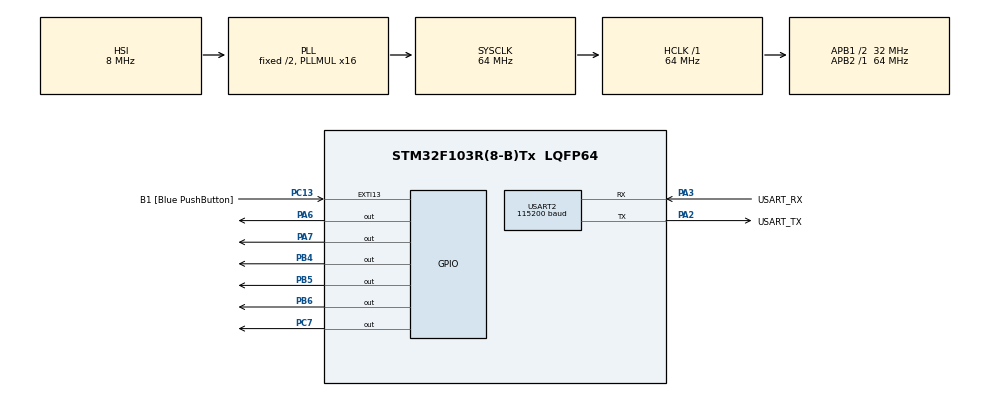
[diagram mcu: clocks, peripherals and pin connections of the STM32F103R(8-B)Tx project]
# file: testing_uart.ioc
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Dma.Request0=USART2_RX
Dma.USART2_RX.0.Direction=DMA_PERIPH_TO_MEMORY
Dma.USART2_RX.0.Instance=DMA1_Channel6
Dma.USART2_RX.0.MemDataAlignment=DMA_MDATAALIGN_BYTE
Dma.USART2_RX.0.MemInc=DMA_MINC_ENABLE
Dma.USART2_RX.0.Mode=DMA_NORMAL
Dma.USART2_RX.0.PeriphDataAlignment=DMA_PDATAALIGN_BYTE
Dma.USART2_RX.0.PeriphInc=DMA_PINC_DISABLE
Dma.USART2_RX.0.Priority=DMA_PRIORITY_LOW
Mcu.Family=STM32F1
Mcu.Name=STM32F103R(8-B)Tx
Mcu.Package=LQFP64
NVIC.DMA1_Channel6_IRQn=true\:0\:0\:false\:false\:true\:false\:true\:true
NVIC.EXTI15_10_IRQn=true\:0\:0\:false\:false\:true\:true\:true\:true
NVIC.PriorityGroup=NVIC_PRIORITYGROUP_4
NVIC.USART2_IRQn=true\:0\:0\:false\:false\:true\:true\:true\:true
PA13.Mode=Serial_Wire
PA13.Signal=SYS_JTMS-SWDIO
PA14.Mode=Serial_Wire
PA14.Signal=SYS_JTCK-SWCLK
PA2.GPIO_Label=USART_TX
PA2.GPIO_Mode=GPIO_MODE_AF_PP
PA2.GPIO_PuPd=GPIO_NOPULL
PA2.GPIO_Speed=GPIO_SPEED_FREQ_LOW
PA2.Mode=Asynchronous
PA2.Signal=USART2_TX
PA3.GPIO_Label=USART_RX
PA3.GPIO_Mode=GPIO_MODE_AF_PP
PA3.GPIO_PuPd=GPIO_NOPULL
PA3.GPIO_Speed=GPIO_SPEED_FREQ_LOW
PA3.Mode=Asynchronous
PA3.Signal=USART2_RX
PA6.Signal=GPIO_Output
PA7.Signal=GPIO_Output
PB4.Signal=GPIO_Output
PB5.Signal=GPIO_Output
PB6.Signal=GPIO_Output
PC13-TAMPER-RTC.GPIO_Label=B1 [Blue PushButton]
PC13-TAMPER-RTC.GPIO_PuPd=GPIO_NOPULL
PC13-TAMPER-RTC.Signal=GPXTI13
PC14-OSC32_IN.Mode=LSE-External-Oscillator
PC14-OSC32_IN.Signal=RCC_OSC32_IN
PC15-OSC32_OUT.Mode=LSE-External-Oscillator
PC15-OSC32_OUT.Signal=RCC_OSC32_OUT
PC7.Signal=GPIO_Output
PD0-OSC_IN.Mode=HSE-External-Clock-Source
PD0-OSC_IN.Signal=RCC_OSC_IN
PD1-OSC_OUT.Mode=HSE-External-Clock-Source
PD1-OSC_OUT.Signal=RCC_OSC_OUT
ProjectManager.HeapSize=0x200
ProjectManager.StackSize=0x400
ProjectManager.TargetToolchain=STM32CubeIDE
RCC.AHBFreq_Value=64000000
RCC.APB1CLKDivider=RCC_HCLK_DIV2
RCC.APB1Freq_Value=32000000
RCC.APB1TimFreq_Value=64000000
RCC.APB2Freq_Value=64000000
RCC.APB2TimFreq_Value=64000000
RCC.HCLKFreq_Value=64000000
RCC.PLLMUL=RCC_PLL_MUL16
RCC.RTCClockSelection=RCC_RTCCLKSOURCE_LSE
RCC.SYSCLKFreq_VALUE=64000000
RCC.SYSCLKSource=RCC_SYSCLKSOURCE_PLLCLK
RCC.USBFreq_Value=64000000
USART2.BaudRate=115200
USART2.VirtualMode=VM_ASYNC
board=NUCLEO-F103RB

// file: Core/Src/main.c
/* USER CODE BEGIN Header */
/**
  ******************************************************************************
  * @file           : main.c
  * @brief          : Main program body
  ******************************************************************************
  * @attention
  *
  * Copyright (c) 2022 STMicroelectronics.
  * All rights reserved.
  *
  * This software is licensed under terms that can be found in the LICENSE file
  * in the root directory of this software component.
  * If no LICENSE file comes with this software, it is provided AS-IS.
  *
  ******************************************************************************
  */
/* USER CODE END Header */
#include "main.h"

/* USER CODE BEGIN Includes */
#include "string.h"
#include "lcd.h"
/* USER CODE END Includes */

 UART_HandleTypeDef huart2;
DMA_HandleTypeDef hdma_usart2_rx;

/* USER CODE BEGIN PV */
uint8_t data[100];
uint8_t data1[100];
/* USER CODE END PV */

void SystemClock_Config(void);
static void MX_GPIO_Init(void);
static void MX_DMA_Init(void);
static void MX_USART2_UART_Init(void);

/* USER CODE BEGIN 0 */
#define RxBuf_SIZE 30
#define MainBuf_SIZE 30
uint8_t RxBuf[RxBuf_SIZE];
uint8_t MainBuf[MainBuf_SIZE];

unsigned int command_no = 0;
unsigned int old_command_no = 0;

void HAL_UARTEx_RxEventCallback(UART_HandleTypeDef *huart, uint16_t Size)
{
	command_no++;
	for(int i = 0; i < MainBuf_SIZE; i++)
		MainBuf[i] = '\0';
	memmove(MainBuf, RxBuf, Size);
	HAL_UARTEx_ReceiveToIdle_DMA(&huart2, RxBuf, RxBuf_SIZE);
	__HAL_DMA_DISABLE_IT(&hdma_usart2_rx, DMA_IT_HT);
	HAL_UART_Transmit(&huart2, MainBuf, MainBuf_SIZE, 500);
//	HAL_UART_Transmit(&huart2, '\n\r', 2, 1000);
}

/* USER CODE END 0 */

int main(void)
{

  /* MCU Configuration--------------------------------------------------------*/

  /* Reset of all peripherals, Initializes the Flash interface and the Systick. */
  HAL_Init();

  /* Configure the system clock */
  SystemClock_Config();

  /* Initialize all configured peripherals */
  MX_GPIO_Init();
  MX_DMA_Init();
  MX_USART2_UART_Init();
  /* USER CODE BEGIN 2 */
  HAL_UARTEx_ReceiveToIdle_DMA(&huart2, RxBuf, RxBuf_SIZE);

  __HAL_DMA_DISABLE_IT(&hdma_usart2_rx, DMA_IT_HT);
  /* USER CODE END 2 */

  /* Infinite loop */
  while (1)
  {
	  if(command_no != old_command_no)
	  {
		  Lcd_PortType ports[] = { GPIOC, GPIOB, GPIOA, GPIOA };
		  Lcd_PinType pins[] = {GPIO_PIN_7, GPIO_PIN_6, GPIO_PIN_7, GPIO_PIN_6};
		  Lcd_HandleTypeDef lcd;
		  lcd = Lcd_create(ports, pins, GPIOB, GPIO_PIN_5, GPIOB, GPIO_PIN_4, LCD_4_BIT_MODE);
		  Lcd_cursor(&lcd, 0,1);
	    Lcd_string(&lcd, "Cmds received:");
	    Lcd_cursor(&lcd, 1, 7);
	    Lcd_int(&lcd, command_no/2);
	    old_command_no = command_no;
	  }

  }
}

void SystemClock_Config(void)
{
  RCC_OscInitTypeDef RCC_OscInitStruct = {0};
  RCC_ClkInitTypeDef RCC_ClkInitStruct = {0};

  /** Initializes the RCC Oscillators according to the specified parameters
  * in the RCC_OscInitTypeDef structure.
  */
  RCC_OscInitStruct.OscillatorType = RCC_OSCILLATORTYPE_HSI;
  RCC_OscInitStruct.HSIState = RCC_HSI_ON;
  RCC_OscInitStruct.HSICalibrationValue = RCC_HSICALIBRATION_DEFAULT;
  RCC_OscInitStruct.PLL.PLLState = RCC_PLL_ON;
  RCC_OscInitStruct.PLL.PLLSource = RCC_PLLSOURCE_HSI_DIV2;
  RCC_OscInitStruct.PLL.PLLMUL = RCC_PLL_MUL16;
  if (HAL_RCC_OscConfig(&RCC_OscInitStruct) != HAL_OK)
  {
    Error_Handler();
  }

  /** Initializes the CPU, AHB and APB buses clocks
  */
  RCC_ClkInitStruct.ClockType = RCC_CLOCKTYPE_HCLK|RCC_CLOCKTYPE_SYSCLK
                              |RCC_CLOCKTYPE_PCLK1|RCC_CLOCKTYPE_PCLK2;
  RCC_ClkInitStruct.SYSCLKSource = RCC_SYSCLKSOURCE_PLLCLK;
  RCC_ClkInitStruct.AHBCLKDivider = RCC_SYSCLK_DIV1;
  RCC_ClkInitStruct.APB1CLKDivider = RCC_HCLK_DIV2;
  RCC_ClkInitStruct.APB2CLKDivider = RCC_HCLK_DIV1;

  if (HAL_RCC_ClockConfig(&RCC_ClkInitStruct, FLASH_LATENCY_2) != HAL_OK)
  {
    Error_Handler();
  }
}

static void MX_USART2_UART_Init(void)
{

  huart2.Instance = USART2;
  huart2.Init.BaudRate = 115200;
  huart2.Init.WordLength = UART_WORDLENGTH_8B;
  huart2.Init.StopBits = UART_STOPBITS_1;
  huart2.Init.Parity = UART_PARITY_NONE;
  huart2.Init.Mode = UART_MODE_TX_RX;
  huart2.Init.HwFlowCtl = UART_HWCONTROL_NONE;
  huart2.Init.OverSampling = UART_OVERSAMPLING_16;
  if (HAL_UART_Init(&huart2) != HAL_OK)
  {
    Error_Handler();
  }

}

static void MX_DMA_Init(void)
{

  /* DMA controller clock enable */
  __HAL_RCC_DMA1_CLK_ENABLE();

  /* DMA interrupt init */
  /* DMA1_Channel6_IRQn interrupt configuration */
  HAL_NVIC_SetPriority(DMA1_Channel6_IRQn, 0, 0);
  HAL_NVIC_EnableIRQ(DMA1_Channel6_IRQn);

}

static void MX_GPIO_Init(void)
{
  GPIO_InitTypeDef GPIO_InitStruct = {0};

  /* GPIO Ports Clock Enable */
  __HAL_RCC_GPIOC_CLK_ENABLE();
  __HAL_RCC_GPIOD_CLK_ENABLE();
  __HAL_RCC_GPIOA_CLK_ENABLE();
  __HAL_RCC_GPIOB_CLK_ENABLE();

  /*Configure GPIO pin Output Level */
  HAL_GPIO_WritePin(GPIOA, GPIO_PIN_6|GPIO_PIN_7, GPIO_PIN_RESET);

  /*Configure GPIO pin Output Level */
  HAL_GPIO_WritePin(GPIOC, GPIO_PIN_7, GPIO_PIN_RESET);

  /*Configure GPIO pin Output Level */
  HAL_GPIO_WritePin(GPIOB, GPIO_PIN_4|GPIO_PIN_5|GPIO_PIN_6, GPIO_PIN_RESET);

  /*Configure GPIO pin : B1_Pin */
  GPIO_InitStruct.Pin = B1_Pin;
  GPIO_InitStruct.Mode = GPIO_MODE_IT_RISING;
  GPIO_InitStruct.Pull = GPIO_NOPULL;
  HAL_GPIO_Init(B1_GPIO_Port, &GPIO_InitStruct);

  /*Configure GPIO pins : PA6 PA7 */
  GPIO_InitStruct.Pin = GPIO_PIN_6|GPIO_PIN_7;
  GPIO_InitStruct.Mode = GPIO_MODE_OUTPUT_PP;
  GPIO_InitStruct.Pull = GPIO_NOPULL;
  GPIO_InitStruct.Speed = GPIO_SPEED_FREQ_LOW;
  HAL_GPIO_Init(GPIOA, &GPIO_InitStruct);

  /*Configure GPIO pin : PC7 */
  GPIO_InitStruct.Pin = GPIO_PIN_7;
  GPIO_InitStruct.Mode = GPIO_MODE_OUTPUT_PP;
  GPIO_InitStruct.Pull = GPIO_NOPULL;
  GPIO_InitStruct.Speed = GPIO_SPEED_FREQ_LOW;
  HAL_GPIO_Init(GPIOC, &GPIO_InitStruct);

  /*Configure GPIO pins : PB4 PB5 PB6 */
  GPIO_InitStruct.Pin = GPIO_PIN_4|GPIO_PIN_5|GPIO_PIN_6;
  GPIO_InitStruct.Mode = GPIO_MODE_OUTPUT_PP;
  GPIO_InitStruct.Pull = GPIO_NOPULL;
  GPIO_InitStruct.Speed = GPIO_SPEED_FREQ_LOW;
  HAL_GPIO_Init(GPIOB, &GPIO_InitStruct);

  /* EXTI interrupt init*/
  HAL_NVIC_SetPriority(EXTI15_10_IRQn, 0, 0);
  HAL_NVIC_EnableIRQ(EXTI15_10_IRQn);

}

void Error_Handler(void)
{
  __disable_irq();
  while (1)
  {
  }
}
